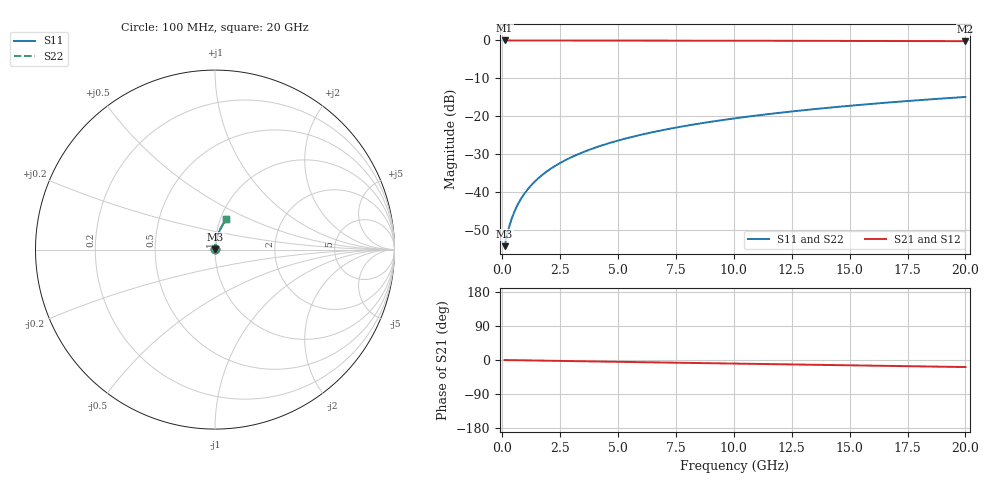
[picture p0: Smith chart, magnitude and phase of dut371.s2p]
! Touchstone file exported from HFSS 2026.1.0
!  File:  C:/ffzhzh/LocalFiles/Ansys_Project_Files/temp_train_BSMRDL_371_1783011803_46388.aedt
!  Generated:  01:04:46 AM Jul  3, 2026
!  Design:  BSMRDL
!  Project:  temp_train_BSMRDL_371_1783011803_46388
! Variables:
!  h_bsmrdl = 3.82um
!  h_ox = 20um
!  h_rdl = 5um
!  h_sub = 80um
!  h_tmrdl = 5um
!  h_tsv = 80um
!  h_via = 3um
!  l_bsmrdl = 252.45um
!  l_sub = 652.45um
!  l_tmrdl = 200um
!  m_sub = 200um
!  pitch = 35.14um
!  r_tsv = 6um
!  s_tmrdl = 10um
!  w_bsmrdl = 15.7um
!  w_sub = 500um
!  w_tmrdl = 12um
!  x_tsv_center1 = 206um
!  x_tsv_center2 = 474.15um
!  x_tsv_center3 = 686.15um
!  x_tsv_center4 = 954.3um
!  x_tsv_center5 = 1166.3um
!  x_tsv_center6 = 1434.45um
# GHz S MA R 50.000000
! Terminal data exported
! Port[1] = BSM_RDL1_1_T1
! Port[2] = BSM_RDL1_1_T2
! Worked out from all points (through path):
!   200 points, 100 MHz to 20 GHz, reference 50 ohm
!   highest |S21| = -0.01 dB at 100 MHz (marker M1); lowest = -0.2 dB at 20 GHz (marker M2)
!   group delay of S21, straight-line fit = 2.58 ps
!   lowest |S11| = -54.1 dB at 100 MHz (marker M3), VSWR 1.00, Z = 50.2 + j0.106 ohm
!   |S11| at or under -10 dB: start of sweep to end of sweep
!   |S22| runs from -54.1 to -14.9 dB; largest |S21 - S12| = 2.7e-15
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0.1  0.001963 32.6  0.9983 -0.1  0.9983 -0.1  0.001963 32.6
! Gamma 0 0 0 0
! Port Impedance 50 0 50 0
0.2  0.0027 50.6  0.9983 -0.2  0.9983 -0.2  0.0027 50.6
0.3  0.003563 60.0  0.9982 -0.3  0.9982 -0.3  0.003563 60.0
0.4  0.004461 65.5  0.9982 -0.4  0.9982 -0.4  0.004461 65.5
0.5  0.005374 69.2  0.9981 -0.5  0.9981 -0.5  0.005374 69.2
0.6  0.006297 71.9  0.9981 -0.6  0.9981 -0.6  0.006297 71.9
0.8  0.008165 75.4  0.998 -0.8  0.998 -0.8  0.008165 75.4
1.1  0.011 78.4  0.9979 -1.1  0.9979 -1.1  0.011 78.4
1.3  0.01291 79.6  0.9979 -1.3  0.9979 -1.3  0.01291 79.6
1.6  0.01578 80.8  0.9978 -1.5  0.9978 -1.5  0.01578 80.8
2.1  0.02058 81.8  0.9976 -2.0  0.9976 -2.0  0.02058 81.8
2.7  0.02633 82.3  0.9973 -2.6  0.9973 -2.6  0.02633 82.3
3.5  0.03396 82.3  0.9969 -3.4  0.9969 -3.4  0.03396 82.3
4.2  0.0406 82.0  0.9964 -4.0  0.9964 -4.0  0.0406 82.0
5  0.04813 81.6  0.9958 -4.8  0.9958 -4.8  0.04813 81.6
5.9  0.05654 81.0  0.9951 -5.6  0.9951 -5.6  0.05654 81.0
6.8  0.06488 80.3  0.9943 -6.5  0.9943 -6.5  0.06488 80.3
8.3  0.07862 79.1  0.9928 -7.9  0.9928 -7.9  0.07862 79.1
10.1  0.09488 77.6  0.9908 -9.6  0.9908 -9.6  0.09488 77.6
13.4  0.1241 74.9  0.9868 -12.6  0.9868 -12.6  0.1241 74.9
16.7  0.1526 72.1  0.9821 -15.6  0.9821 -15.6  0.1526 72.1
20  0.1804 69.3  0.9769 -18.6  0.9769 -18.6  0.1804 69.3
